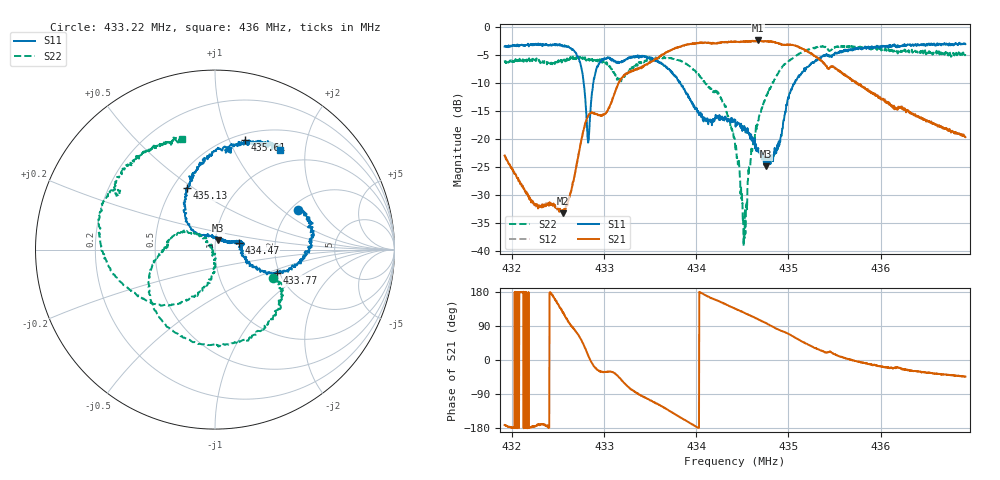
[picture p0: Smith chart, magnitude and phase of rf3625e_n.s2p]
!Keysight Technologies,E5080A,MY55200989,A.11.70.00
!Date: Wednesday, May 15, 2019 11:36:08
!Correction: S11(Full 2 Port(1,2))
!S21(Full 2 Port(1,2))
!S12(Full 2 Port(1,2))
!S22(Full 2 Port(1,2))
!S2P File: Measurements: S11, S21, S12, S22:
# Hz S  dB  R 50
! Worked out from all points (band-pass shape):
!   1601 points, 431.92 MHz to 436.92 MHz, reference 50 ohm
!   highest |S21| = -2.33 dB at 434.67 MHz (marker M1); lowest = -33.2 dB at 432.55 MHz (marker M2)
!   |S21| within 3 dB of the highest: 433.592 MHz to 435.3007 MHz (1.709 MHz wide, 0.393 % of centre); 435.302 MHz to 435.3065 MHz (4.505 kHz wide, 0.00103 % of centre)
!   lowest |S11| = -24.8 dB at 434.76 MHz (marker M3), VSWR 1.12, Z = 51.6 + j5.63 ohm
!   |S11| at or under -10 dB: 432.7799 MHz to 432.8811 MHz (101.2 kHz wide, 0.0234 % of centre); 433.8281 MHz to 435.065 MHz (1.237 MHz wide, 0.285 % of centre)
!   |S22| runs from -39.1 to -3.3 dB; largest |S21 - S12| = 0.0099
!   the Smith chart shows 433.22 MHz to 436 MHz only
!   S11 on the Smith chart (normalised r, x): 433.22 MHz: 2.18, +1.30; 433.77 MHz: 1.94, -0.59; 434.47 MHz: 1.30, +0.10; 435.13 MHz: 0.59, +0.47; 435.61 MHz: 0.56, +1.15; 436 MHz: 0.79, +1.55
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4.3192e8  -3.42 35.2  -22.91 -171.6  -22.76 -171.5  -5.89 53.9
4.322544e8  -2.93 23.8  -31.58 -174.0  -31.59 -173.3  -5.80 34.2
4.325512e8  -3.38 3.5  -33.22 127.0  -32.78 125.4  -5.94 21.1
4.327544e8  -7.31 -49.1  -20.00 52.0  -20.00 51.7  -5.61 3.4
4.328294e8  -20.24 178.7  -15.73 9.9  -15.74 10.0  -5.61 -6.5
4.329356e8  -6.83 58.4  -15.64 -27.3  -15.62 -27.1  -5.80 -14.3
4.332169e8  -5.82 25.5  -8.46 -60.6  -8.51 -60.2  -8.89 -25.7
4.335888e8  -6.14 -4.9  -5.34 -116.9  -5.34 -116.8  -5.53 -75.8
4.337669e8  -8.62 -20.6  -3.77 -142.9  -3.78 -142.9  -5.65 -109.9
4.339638e8  -13.70 -20.9  -2.88 -170.7  -2.89 -170.8  -7.42 -150.5
4.342419e8  -15.95 12.5  -2.75 155.4  -2.73 155.6  -11.84 166.2
4.3442e8  -16.70 16.7  -2.59 135.5  -2.57 135.4  -20.84 137.0
4.344669e8  -17.13 16.1  -2.57 130.7  -2.61 130.4  -24.74 134.4
4.345294e8  -18.29 23.4  -2.58 123.3  -2.56 123.4  -32.44 -106.2
4.346731e8  -21.64 36.4  -2.33 107.4  -2.34 107.6  -16.64 -97.1
4.347575e8  -24.82 71.3  -2.48 97.5  -2.49 97.6  -12.35 -108.3
4.351294e8  -8.42 114.7  -3.67 51.4  -3.68 51.4  -4.56 -168.6
4.352544e8  -6.34 98.9  -4.68 35.7  -4.67 35.8  -3.76 173.2
4.356106e8  -3.97 74.6  -8.39 5.4  -8.34 5.5  -3.45 134.9
4.360012e8  -3.60 56.9  -12.69 -16.7  -12.66 -16.4  -3.83 106.9
4.360888e8  -3.30 52.8  -13.36 -21.4  -13.50 -19.6  -4.12 101.1
4.3692e8  -2.97 33.6  -19.60 -43.9  -19.56 -43.8  -4.79 65.6
